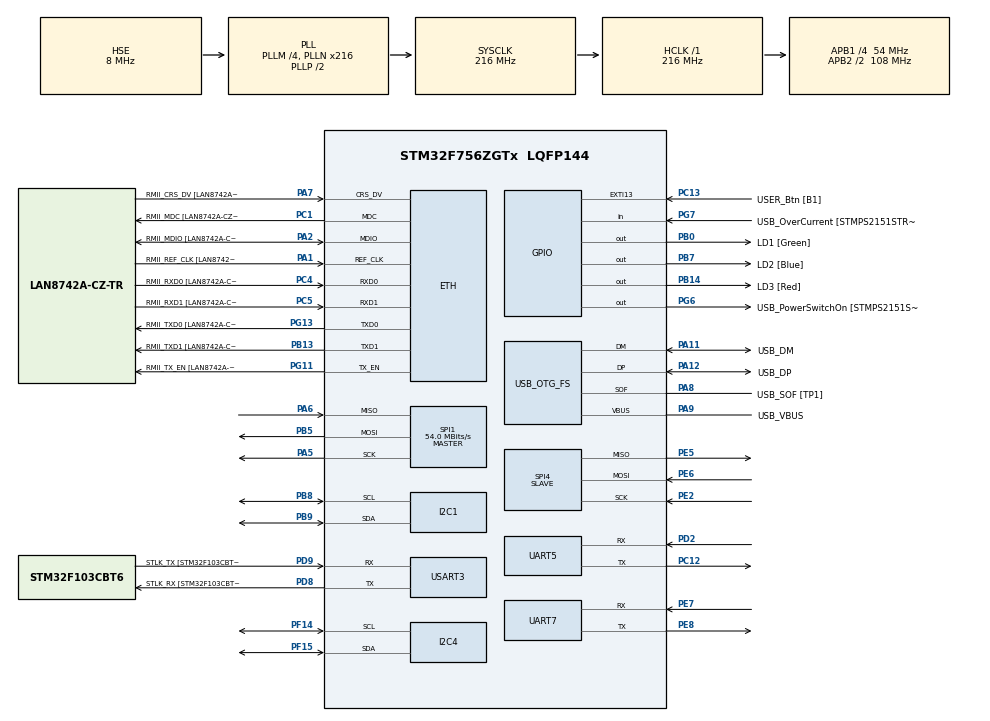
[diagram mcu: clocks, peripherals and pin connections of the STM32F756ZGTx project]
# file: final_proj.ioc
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ADC1.Channel-0\#ChannelRegularConversion=ADC_CHANNEL_TEMPSENSOR
ADC1.ContinuousConvMode=DISABLE
ADC1.NbrOfConversion=1
ADC1.NbrOfConversionFlag=1
ADC1.Rank-0\#ChannelRegularConversion=1
ADC1.SamplingTime-0\#ChannelRegularConversion=ADC_SAMPLETIME_480CYCLES
ADC1.ScanConvMode=ADC_SCAN_DISABLE
ADC1.master=1
CORTEX_M7.default_mode_Activation=1
CRC.CRCLength=CRC_POLYLENGTH_16B
CRC.DefaultPolynomialUse=DEFAULT_POLYNOMIAL_DISABLE
Dma.ADC1.8.Direction=DMA_PERIPH_TO_MEMORY
Dma.ADC1.8.FIFOMode=DMA_FIFOMODE_DISABLE
Dma.ADC1.8.Instance=DMA2_Stream4
Dma.ADC1.8.MemDataAlignment=DMA_MDATAALIGN_HALFWORD
Dma.ADC1.8.MemInc=DMA_MINC_ENABLE
Dma.ADC1.8.Mode=DMA_NORMAL
Dma.ADC1.8.PeriphDataAlignment=DMA_PDATAALIGN_HALFWORD
Dma.ADC1.8.PeriphInc=DMA_PINC_DISABLE
Dma.ADC1.8.Priority=DMA_PRIORITY_LOW
Dma.Request0=UART5_RX
Dma.Request1=UART5_TX
Dma.Request2=SPI1_RX
Dma.Request3=SPI1_TX
Dma.Request4=SPI4_RX
Dma.Request5=SPI4_TX
Dma.Request6=UART7_RX
Dma.Request7=UART7_TX
Dma.Request8=ADC1
Dma.SPI1_RX.2.Direction=DMA_PERIPH_TO_MEMORY
Dma.SPI1_RX.2.FIFOMode=DMA_FIFOMODE_DISABLE
Dma.SPI1_RX.2.Instance=DMA2_Stream2
Dma.SPI1_RX.2.MemDataAlignment=DMA_MDATAALIGN_BYTE
Dma.SPI1_RX.2.MemInc=DMA_MINC_ENABLE
Dma.SPI1_RX.2.Mode=DMA_NORMAL
Dma.SPI1_RX.2.PeriphDataAlignment=DMA_PDATAALIGN_BYTE
Dma.SPI1_RX.2.PeriphInc=DMA_PINC_DISABLE
Dma.SPI1_RX.2.Priority=DMA_PRIORITY_LOW
Dma.SPI1_TX.3.Direction=DMA_MEMORY_TO_PERIPH
Dma.SPI1_TX.3.FIFOMode=DMA_FIFOMODE_DISABLE
Dma.SPI1_TX.3.Instance=DMA2_Stream3
Dma.SPI1_TX.3.MemDataAlignment=DMA_MDATAALIGN_BYTE
Dma.SPI1_TX.3.MemInc=DMA_MINC_ENABLE
Dma.SPI1_TX.3.Mode=DMA_NORMAL
Dma.SPI1_TX.3.PeriphDataAlignment=DMA_PDATAALIGN_BYTE
Dma.SPI1_TX.3.PeriphInc=DMA_PINC_DISABLE
Dma.SPI1_TX.3.Priority=DMA_PRIORITY_LOW
Dma.SPI4_RX.4.Direction=DMA_PERIPH_TO_MEMORY
Dma.SPI4_RX.4.FIFOMode=DMA_FIFOMODE_DISABLE
Dma.SPI4_RX.4.Instance=DMA2_Stream0
Dma.SPI4_RX.4.MemDataAlignment=DMA_MDATAALIGN_BYTE
Dma.SPI4_RX.4.MemInc=DMA_MINC_ENABLE
Dma.SPI4_RX.4.Mode=DMA_NORMAL
Dma.SPI4_RX.4.PeriphDataAlignment=DMA_PDATAALIGN_BYTE
Dma.SPI4_RX.4.PeriphInc=DMA_PINC_DISABLE
Dma.SPI4_RX.4.Priority=DMA_PRIORITY_LOW
Dma.SPI4_TX.5.Direction=DMA_MEMORY_TO_PERIPH
Dma.SPI4_TX.5.FIFOMode=DMA_FIFOMODE_DISABLE
Dma.SPI4_TX.5.Instance=DMA2_Stream1
Dma.SPI4_TX.5.MemDataAlignment=DMA_MDATAALIGN_BYTE
Dma.SPI4_TX.5.MemInc=DMA_MINC_ENABLE
Dma.SPI4_TX.5.Mode=DMA_NORMAL
Dma.SPI4_TX.5.PeriphDataAlignment=DMA_PDATAALIGN_BYTE
Dma.SPI4_TX.5.PeriphInc=DMA_PINC_DISABLE
Dma.SPI4_TX.5.Priority=DMA_PRIORITY_LOW
Dma.UART5_RX.0.Direction=DMA_PERIPH_TO_MEMORY
Dma.UART5_RX.0.FIFOMode=DMA_FIFOMODE_DISABLE
Dma.UART5_RX.0.Instance=DMA1_Stream0
Dma.UART5_RX.0.MemDataAlignment=DMA_MDATAALIGN_BYTE
Dma.UART5_RX.0.MemInc=DMA_MINC_ENABLE
Dma.UART5_RX.0.Mode=DMA_NORMAL
Dma.UART5_RX.0.PeriphDataAlignment=DMA_PDATAALIGN_BYTE
Dma.UART5_RX.0.PeriphInc=DMA_PINC_DISABLE
Dma.UART5_RX.0.Priority=DMA_PRIORITY_LOW
Dma.UART5_TX.1.Direction=DMA_MEMORY_TO_PERIPH
Dma.UART5_TX.1.FIFOMode=DMA_FIFOMODE_DISABLE
Dma.UART5_TX.1.Instance=DMA1_Stream7
Dma.UART5_TX.1.MemDataAlignment=DMA_MDATAALIGN_BYTE
Dma.UART5_TX.1.MemInc=DMA_MINC_ENABLE
Dma.UART5_TX.1.Mode=DMA_NORMAL
Dma.UART5_TX.1.PeriphDataAlignment=DMA_PDATAALIGN_BYTE
Dma.UART5_TX.1.PeriphInc=DMA_PINC_DISABLE
Dma.UART5_TX.1.Priority=DMA_PRIORITY_LOW
Dma.UART7_RX.6.Direction=DMA_PERIPH_TO_MEMORY
Dma.UART7_RX.6.FIFOMode=DMA_FIFOMODE_DISABLE
Dma.UART7_RX.6.Instance=DMA1_Stream3
Dma.UART7_RX.6.MemDataAlignment=DMA_MDATAALIGN_BYTE
Dma.UART7_RX.6.MemInc=DMA_MINC_ENABLE
Dma.UART7_RX.6.Mode=DMA_NORMAL
Dma.UART7_RX.6.PeriphDataAlignment=DMA_PDATAALIGN_BYTE
Dma.UART7_RX.6.PeriphInc=DMA_PINC_DISABLE
Dma.UART7_RX.6.Priority=DMA_PRIORITY_LOW
Dma.UART7_TX.7.Direction=DMA_MEMORY_TO_PERIPH
Dma.UART7_TX.7.FIFOMode=DMA_FIFOMODE_DISABLE
Dma.UART7_TX.7.Instance=DMA1_Stream1
Dma.UART7_TX.7.MemDataAlignment=DMA_MDATAALIGN_BYTE
Dma.UART7_TX.7.MemInc=DMA_MINC_ENABLE
Dma.UART7_TX.7.Mode=DMA_NORMAL
Dma.UART7_TX.7.PeriphDataAlignment=DMA_PDATAALIGN_BYTE
Dma.UART7_TX.7.PeriphInc=DMA_PINC_DISABLE
Dma.UART7_TX.7.Priority=DMA_PRIORITY_LOW
ETH.MediaInterface=HAL_ETH_RMII_MODE
ETH.PHY_Name=LAN8742A_PHY_ADDRESS
ETH.PHY_Value=0
ETH.PhyAddress=0
I2C1.OwnAddress=0x10
I2C1.Timing=0x20404768
I2C4.OwnAddress=0x20
I2C4.Timing=0x20404768
LWIP.BSP.number=1
LWIP.GATEWAY_ADDRESS=012.034.056.001
LWIP.IP_ADDRESS=012.034.056.078
LWIP.LWIP_DHCP=0
LWIP.NETMASK_ADDRESS=255.255.255.000
LWIP.Version=v2.1.2_Cube
LWIP0.BSP.STBoard=false
LWIP0.BSP.api=BSP_COMPONENT_DRIVER
LWIP0.BSP.component=LAN8742
LWIP0.BSP.instance=LAN8742
LWIP0.BSP.name=Driver_PHY
LWIP0.BSP.semaphore=S_LAN8742
LWIP0.BSP.solution=LAN8742
Mcu.Family=STM32F7
Mcu.Name=STM32F756ZGTx
Mcu.Package=LQFP144
NVIC.ADC_IRQn=true\:0\:0\:false\:false\:true\:true\:true\:true
NVIC.DMA1_Stream0_IRQn=true\:0\:0\:false\:false\:true\:false\:true\:true
NVIC.DMA1_Stream1_IRQn=true\:0\:0\:false\:false\:true\:false\:true\:true
NVIC.DMA1_Stream3_IRQn=true\:0\:0\:false\:false\:true\:false\:true\:true
NVIC.DMA1_Stream7_IRQn=true\:0\:0\:false\:false\:true\:false\:true\:true
NVIC.DMA2_Stream0_IRQn=true\:0\:0\:false\:false\:true\:false\:true\:true
NVIC.DMA2_Stream1_IRQn=true\:0\:0\:false\:false\:true\:false\:true\:true
NVIC.DMA2_Stream2_IRQn=true\:0\:0\:false\:false\:true\:false\:true\:true
NVIC.DMA2_Stream3_IRQn=true\:0\:0\:false\:false\:true\:false\:true\:true
NVIC.DMA2_Stream4_IRQn=true\:0\:0\:false\:false\:true\:false\:true\:true
NVIC.I2C1_ER_IRQn=true\:0\:0\:false\:false\:true\:true\:true\:true
NVIC.I2C1_EV_IRQn=true\:0\:0\:false\:false\:true\:true\:true\:true
NVIC.I2C4_ER_IRQn=true\:0\:0\:false\:false\:true\:true\:true\:true
NVIC.I2C4_EV_IRQn=true\:0\:0\:false\:false\:true\:true\:true\:true
NVIC.PriorityGroup=NVIC_PRIORITYGROUP_4
NVIC.SPI1_IRQn=true\:0\:0\:false\:false\:true\:true\:true\:true
NVIC.SPI4_IRQn=true\:0\:0\:false\:false\:true\:true\:true\:true
NVIC.TIM1_CC_IRQn=true\:0\:0\:false\:false\:true\:true\:true\:true
NVIC.TIM4_IRQn=true\:0\:0\:false\:false\:true\:true\:true\:true
NVIC.UART5_IRQn=true\:0\:0\:false\:false\:true\:true\:true\:true
NVIC.UART7_IRQn=true\:0\:0\:false\:false\:true\:true\:true\:true
PA1.GPIO_Label=RMII_REF_CLK [LAN8742A-CZ-TR_REFCLK0]
PA1.Mode=RMII
PA1.Signal=ETH_REF_CLK
PA10.GPIO_Label=USB_ID
PA10.Signal=USB_OTG_FS_ID
PA11.GPIO_Label=USB_DM
PA11.Mode=Device_Only
PA11.Signal=USB_OTG_FS_DM
PA12.GPIO_Label=USB_DP
PA12.Mode=Device_Only
PA12.Signal=USB_OTG_FS_DP
PA13.GPIO_Label=TMS
PA13.Mode=Serial_Wire
PA13.Signal=SYS_JTMS-SWDIO
PA14.GPIO_Label=TCK
PA14.Mode=Serial_Wire
PA14.Signal=SYS_JTCK-SWCLK
PA2.GPIO_Label=RMII_MDIO [LAN8742A-CZ-TR_MDIO]
PA2.Mode=RMII
PA2.Signal=ETH_MDIO
PA5.Mode=Full_Duplex_Master
PA5.Signal=SPI1_SCK
PA6.Mode=Full_Duplex_Master
PA6.Signal=SPI1_MISO
PA7.GPIO_Label=RMII_CRS_DV [LAN8742A-CZ-TR_CRS_DV]
PA7.Mode=RMII
PA7.Signal=ETH_CRS_DV
PA8.GPIO_Label=USB_SOF [TP1]
PA8.Mode=Activate_SOF_FS
PA8.Signal=USB_OTG_FS_SOF
PA9.GPIO_Label=USB_VBUS
PA9.Mode=Activate_VBUS
PA9.Signal=USB_OTG_FS_VBUS
PB0.GPIO_Label=LD1 [Green]
PB0.Signal=GPIO_Output
PB10.Signal=I2C2_SCL
PB11.Signal=I2C2_SDA
PB13.GPIO_Label=RMII_TXD1 [LAN8742A-CZ-TR_TXD1]
PB13.Mode=RMII
PB13.Signal=ETH_TXD1
PB14.GPIO_Label=LD3 [Red]
PB14.Signal=GPIO_Output
PB3.GPIO_Label=SW0
PB3.Signal=SYS_JTDO-SWO
PB5.Mode=Full_Duplex_Master
PB5.Signal=SPI1_MOSI
PB7.GPIO_Label=LD2 [Blue]
PB7.Signal=GPIO_Output
PB8.GPIO_Pu=GPIO_PULLUP
PB8.Mode=I2C
PB8.Signal=I2C1_SCL
PB9.GPIO_Pu=GPIO_PULLUP
PB9.Mode=I2C
PB9.Signal=I2C1_SDA
PC1.GPIO_Label=RMII_MDC [LAN8742A-CZ-TR_MDC]
PC1.Mode=RMII
PC1.Signal=ETH_MDC
PC10.Signal=UART4_TX
PC12.Mode=Asynchronous
PC12.Signal=UART5_TX
PC13.GPIO_Label=USER_Btn [B1]
PC13.Signal=GPXTI13
PC14/OSC32_IN.Mode=LSE-External-Oscillator
PC14/OSC32_IN.Signal=RCC_OSC32_IN
PC15/OSC32_OUT.Mode=LSE-External-Oscillator
PC15/OSC32_OUT.Signal=RCC_OSC32_OUT
PC4.GPIO_Label=RMII_RXD0 [LAN8742A-CZ-TR_RXD0]
PC4.Mode=RMII
PC4.Signal=ETH_RXD0
PC5.GPIO_Label=RMII_RXD1 [LAN8742A-CZ-TR_RXD1]
PC5.Mode=RMII
PC5.Signal=ETH_RXD1
PD2.Mode=Asynchronous
PD2.Signal=UART5_RX
PD8.GPIO_Label=STLK_RX [STM32F103CBT6_PA3]
PD8.Mode=Asynchronous
PD8.Signal=USART3_TX
PD9.GPIO_Label=STLK_TX [STM32F103CBT6_PA2]
PD9.Mode=Asynchronous
PD9.Signal=USART3_RX
PE2.Mode=Full_Duplex_Slave
PE2.Signal=SPI4_SCK
PE5.Mode=Full_Duplex_Slave
PE5.Signal=SPI4_MISO
PE6.Mode=Full_Duplex_Slave
PE6.Signal=SPI4_MOSI
PE7.Mode=Asynchronous
PE7.Signal=UART7_RX
PE8.Mode=Asynchronous
PE8.Signal=UART7_TX
PF14.GPIO_Pu=GPIO_PULLUP
PF14.Mode=I2C
PF14.Signal=I2C4_SCL
PF15.GPIO_Pu=GPIO_PULLUP
PF15.Mode=I2C
PF15.Signal=I2C4_SDA
PG11.GPIO_Label=RMII_TX_EN [LAN8742A-CZ-TR_TXEN]
PG11.Mode=RMII
PG11.Signal=ETH_TX_EN
PG13.GPIO_Label=RMII_TXD0 [LAN8742A-CZ-TR_TXD0]
PG13.Mode=RMII
PG13.Signal=ETH_TXD0
PG6.GPIO_Label=USB_PowerSwitchOn [STMPS2151STR_EN]
PG6.Signal=GPIO_Output
PG7.GPIO_Label=USB_OverCurrent [STMPS2151STR_FAULT]
PG7.Signal=GPIO_Input
PH0/OSC_IN.GPIO_Label=MCO [STM32F103CBT6_PA8]
PH0/OSC_IN.Mode=HSE-External-Clock-Source
PH0/OSC_IN.Signal=RCC_OSC_IN
PH1/OSC_OUT.Mode=HSE-External-Clock-Source
PH1/OSC_OUT.Signal=RCC_OSC_OUT
ProjectManager.HeapSize=0x200
ProjectManager.StackSize=0x400
ProjectManager.TargetToolchain=STM32CubeIDE
RCC.48MHZClocksFreq_Value=24000000
RCC.AHBFreq_Value=216000000
RCC.APB1CLKDivider=RCC_HCLK_DIV4
RCC.APB1Freq_Value=54000000
RCC.APB1TimFreq_Value=108000000
RCC.APB2CLKDivider=RCC_HCLK_DIV2
RCC.APB2Freq_Value=108000000
RCC.APB2TimFreq_Value=216000000
RCC.CortexFreq_Value=216000000
RCC.HCLKFreq_Value=216000000
RCC.HSE_VALUE=8000000
RCC.HSI_VALUE=16000000
RCC.PLLM=4
RCC.PLLMUL=RCC_PLL_MUL9
RCC.PLLN=216
RCC.PLLQ=9
RCC.PRESCALERUSB=RCC_USBCLKSOURCE_PLL_DIV1_5
RCC.SYSCLKFreq_VALUE=216000000
RCC.SYSCLKSource=RCC_SYSCLKSOURCE_PLLCLK
RCC.SYSCLKSourceVirtual=RCC_SYSCLKSOURCE_PLLCLK
RCC.USBFreq_Value=48000000
RCC.VCOOutputFreq_Value=432000000
SPI1.CalculateBaudRate=54.0 MBits/s
SPI1.DataSize=SPI_DATASIZE_8BIT
SPI1.Direction=SPI_DIRECTION_2LINES
SPI1.Mode=SPI_MODE_MASTER
SPI1.VirtualType=VM_MASTER
SPI4.DataSize=SPI_DATASIZE_8BIT
SPI4.Direction=SPI_DIRECTION_2LINES
SPI4.Mode=SPI_MODE_SLAVE
SPI4.VirtualType=VM_SLAVE
TIM1.Channel-Output\ Compare1\ No\ Output=TIM_CHANNEL_1
TIM1.Period=3
TIM1.Prescaler=53999
TIM1.Pulse-Output\ Compare1\ No\ Output=1999
TIM1.TIM_MasterOutputTrigger=TIM_TRGO_OC1
TIM1.TIM_MasterSlaveMode=TIM_MASTERSLAVEMODE_ENABLE
TIM4.Channel-Output\ Compare1\ No\ Output=TIM_CHANNEL_1
TIM4.Period=2
TIM4.Prescaler=53999
TIM4.Pulse-Output\ Compare1\ No\ Output=1999
TIM4.TIM_MasterOutputTrigger=TIM_TRGO_RESET
TIM4.TIM_MasterSlaveMode=TIM_MASTERSLAVEMODE_ENABLE
USART3.VirtualMode-Asynchronous=VM_ASYNC
USB_OTG_FS.VirtualMode=Device_Only
VP_ADC1_TempSens_Input.Mode=IN-TempSens
VP_CRC_VS_CRC.Mode=CRC_Activate
VP_LWIP_VS_Enabled.Mode=Enabled
VP_TIM1_VS_ClockSourceINT.Mode=Internal
VP_TIM1_VS_ClockSourceITR.Mode=TriggerSource_ITR0
VP_TIM1_VS_OPM.Mode=OPM_bit
VP_TIM1_VS_no_output1.Mode=Output Compare1 No Output
VP_TIM4_VS_ClockSourceINT.Mode=Internal
VP_TIM4_VS_ClockSourceITR.Mode=TriggerSource_ITR0
VP_TIM4_VS_ControllerModeTrigger.Mode=Trigger Mode
VP_TIM4_VS_OPM.Mode=OPM_bit
VP_TIM4_VS_no_output1.Mode=Output Compare1 No Output
board=NUCLEO-F756ZG

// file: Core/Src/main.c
/* USER CODE BEGIN Header */
/**
  ******************************************************************************
  * @file           : main.c
  * @brief          : Main program body
  ******************************************************************************
  * @attention
  *
  * Copyright (c) 2026 STMicroelectronics.
  * All rights reserved.
  *
  * This software is licensed under terms that can be found in the LICENSE file
  * in the root directory of this software component.
  * If no LICENSE file comes with this software, it is provided AS-IS.
  *
  ******************************************************************************
  */
/* USER CODE END Header */
#include "main.h"
#include "adc.h"
#include "crc.h"
#include "dma.h"
#include "i2c.h"
#include "lwip.h"
#include "spi.h"
#include "tim.h"
#include "usart.h"
#include "usb_otg.h"
#include "gpio.h"

/* USER CODE BEGIN Includes */
#include <string.h>
#include <stdio.h>
#include "tools.h"
#include "udp_func.h"
/* USER CODE END Includes */

void SystemClock_Config(void);
static void MPU_Config(void);

/* USER CODE BEGIN 0 */
//
void udp_main(void) {
	printf("start of program\r\n");
	udp_server_init();
	int results=0;
	err_t stat;
	while (1) {
		MX_LWIP_Process();
		if(callback_flag==1){
			peripheral_being_tested(m1.per_tested);
			results=test_function();
			reset_prif_flags();
			a1.test_id=m1.test_id;
			if(results==1){
				a1.test_result=1;
			}
			else if(results!=1){
				a1.test_result=0xff;
			}
			stat=send_packet(upcb, &a1, sizeof(a1), &dest_ipaddr, dest_port);
			if(stat!= ERR_OK){
				printf("Sending packet %"PRIu32" ID was failed",a1.test_id);
			}
			callback_flag=0;
		}

	}

}

/* USER CODE END 0 */

int main(void)
{

  /* MPU Configuration--------------------------------------------------------*/
  MPU_Config();

  /* MCU Configuration--------------------------------------------------------*/

  /* Reset of all peripherals, Initializes the Flash interface and the Systick. */
  HAL_Init();

  /* Configure the system clock */
  SystemClock_Config();

  /* Initialize all configured peripherals */
  MX_GPIO_Init();
  MX_DMA_Init();
  MX_I2C1_Init();
  MX_UART5_Init();
  MX_USART3_UART_Init();
  MX_USB_OTG_FS_PCD_Init();
  MX_LWIP_Init();
  MX_CRC_Init();
  MX_TIM1_Init();
  MX_TIM4_Init();
  MX_SPI1_Init();
  MX_SPI4_Init();
  MX_I2C4_Init();
  MX_UART7_Init();
  MX_ADC1_Init();

  /* Infinite loop */
  /* USER CODE BEGIN WHILE */
  while (1)
  {

	  udp_main();
    /* USER CODE END WHILE */

  }
}

void SystemClock_Config(void)
{
  RCC_OscInitTypeDef RCC_OscInitStruct = {0};
  RCC_ClkInitTypeDef RCC_ClkInitStruct = {0};

  /** Configure LSE Drive Capability
  */
  HAL_PWR_EnableBkUpAccess();

  /** Configure the main internal regulator output voltage
  */
  __HAL_RCC_PWR_CLK_ENABLE();
  __HAL_PWR_VOLTAGESCALING_CONFIG(PWR_REGULATOR_VOLTAGE_SCALE1);

  /** Initializes the RCC Oscillators according to the specified parameters
  * in the RCC_OscInitTypeDef structure.
  */
  RCC_OscInitStruct.OscillatorType = RCC_OSCILLATORTYPE_HSE;
  RCC_OscInitStruct.HSEState = RCC_HSE_BYPASS;
  RCC_OscInitStruct.PLL.PLLState = RCC_PLL_ON;
  RCC_OscInitStruct.PLL.PLLSource = RCC_PLLSOURCE_HSE;
  RCC_OscInitStruct.PLL.PLLM = 4;
  RCC_OscInitStruct.PLL.PLLN = 216;
  RCC_OscInitStruct.PLL.PLLP = RCC_PLLP_DIV2;
  RCC_OscInitStruct.PLL.PLLQ = 9;
  if (HAL_RCC_OscConfig(&RCC_OscInitStruct) != HAL_OK)
  {
    Error_Handler();
  }

  /** Activate the Over-Drive mode
  */
  if (HAL_PWREx_EnableOverDrive() != HAL_OK)
  {
    Error_Handler();
  }

  /** Initializes the CPU, AHB and APB buses clocks
  */
  RCC_ClkInitStruct.ClockType = RCC_CLOCKTYPE_HCLK|RCC_CLOCKTYPE_SYSCLK
                              |RCC_CLOCKTYPE_PCLK1|RCC_CLOCKTYPE_PCLK2;
  RCC_ClkInitStruct.SYSCLKSource = RCC_SYSCLKSOURCE_PLLCLK;
  RCC_ClkInitStruct.AHBCLKDivider = RCC_SYSCLK_DIV1;
  RCC_ClkInitStruct.APB1CLKDivider = RCC_HCLK_DIV4;
  RCC_ClkInitStruct.APB2CLKDivider = RCC_HCLK_DIV2;

  if (HAL_RCC_ClockConfig(&RCC_ClkInitStruct, FLASH_LATENCY_7) != HAL_OK)
  {
    Error_Handler();
  }
}

 /* MPU Configuration */

void MPU_Config(void)
{
  MPU_Region_InitTypeDef MPU_InitStruct = {0};

  /* Disables the MPU */
  HAL_MPU_Disable();

  /** Initializes and configures the Region and the memory to be protected
  */
  MPU_InitStruct.Enable = MPU_REGION_ENABLE;
  MPU_InitStruct.Number = MPU_REGION_NUMBER0;
  MPU_InitStruct.BaseAddress = 0x0;
  MPU_InitStruct.Size = MPU_REGION_SIZE_4GB;
  MPU_InitStruct.SubRegionDisable = 0x87;
  MPU_InitStruct.TypeExtField = MPU_TEX_LEVEL0;
  MPU_InitStruct.AccessPermission = MPU_REGION_NO_ACCESS;
  MPU_InitStruct.DisableExec = MPU_INSTRUCTION_ACCESS_DISABLE;
  MPU_InitStruct.IsShareable = MPU_ACCESS_SHAREABLE;
  MPU_InitStruct.IsCacheable = MPU_ACCESS_NOT_CACHEABLE;
  MPU_InitStruct.IsBufferable = MPU_ACCESS_NOT_BUFFERABLE;

  HAL_MPU_ConfigRegion(&MPU_InitStruct);
  /* Enables the MPU */
  HAL_MPU_Enable(MPU_PRIVILEGED_DEFAULT);

}

void Error_Handler(void)
{
  __disable_irq();
  while (1)
  {
  }
}
